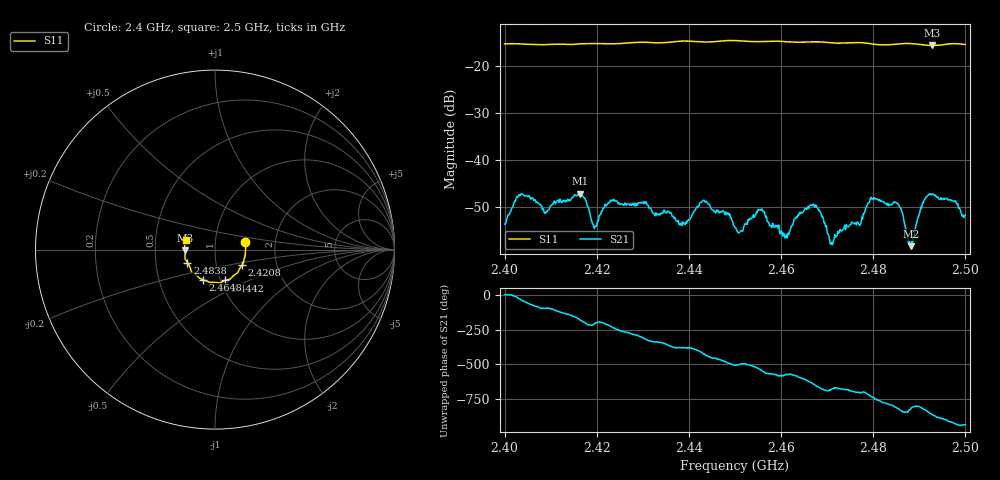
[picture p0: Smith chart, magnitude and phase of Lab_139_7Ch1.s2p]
# Hz S RI R 50
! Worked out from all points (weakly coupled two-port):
!   601 points, 2.4 GHz to 2.5 GHz, reference 50 ohm
!   highest |S21| = -47.05 dB at 2.4163 GHz (marker M1); lowest = -58.2 dB at 2.4882 GHz (marker M2)
!   lowest |S11| = -15.6 dB at 2.4928 GHz (marker M3), VSWR 1.40, Z = 35.8 - j0.33 ohm
!   |S11| at or under -10 dB: start of sweep to end of sweep
!   S12 and S22 are empty: the file has one direction only
!   S11 on the Smith chart (normalised r, x): 2.4 GHz: 1.40, +0.12; 2.4208 GHz: 1.33, -0.24; 2.4442 GHz: 1.05, -0.37; 2.4648 GHz: 0.83, -0.29; 2.4838 GHz: 0.73, -0.11; 2.5 GHz: 0.72, +0.08
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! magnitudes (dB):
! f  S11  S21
! 2.4 GHz  -15.3  -53.6
! 2.4035 GHz  -15.3  -47.2
! 2.409 GHz  -15.4  -50.9
! 2.4163 GHz  -15.2  -47.1
! 2.4167 GHz  -15.2  -47.4
! 2.4195 GHz  -15.2  -54.5
! 2.4208 GHz  -15.2  -51.5
! 2.4333 GHz  -15.0  -51.4
! 2.4387 GHz  -14.7  -53.1
! 2.4442 GHz  -14.9  -49.3
! 2.45 GHz  -14.5  -54.2
! 2.4555 GHz  -14.8  -50.5
! 2.4612 GHz  -14.8  -55.8
! 2.4648 GHz  -14.9  -51.0
! 2.4667 GHz  -14.8  -49.6
! 2.471 GHz  -15.0  -57.4
! 2.4797 GHz  -15.2  -48.2
! 2.4833 GHz  -15.4  -49.7
! 2.4838 GHz  -15.4  -49.4
! 2.4882 GHz  -15.2  -58.2
! 2.4928 GHz  -15.6  -47.3
! 2.5 GHz  -15.4  -51.6
